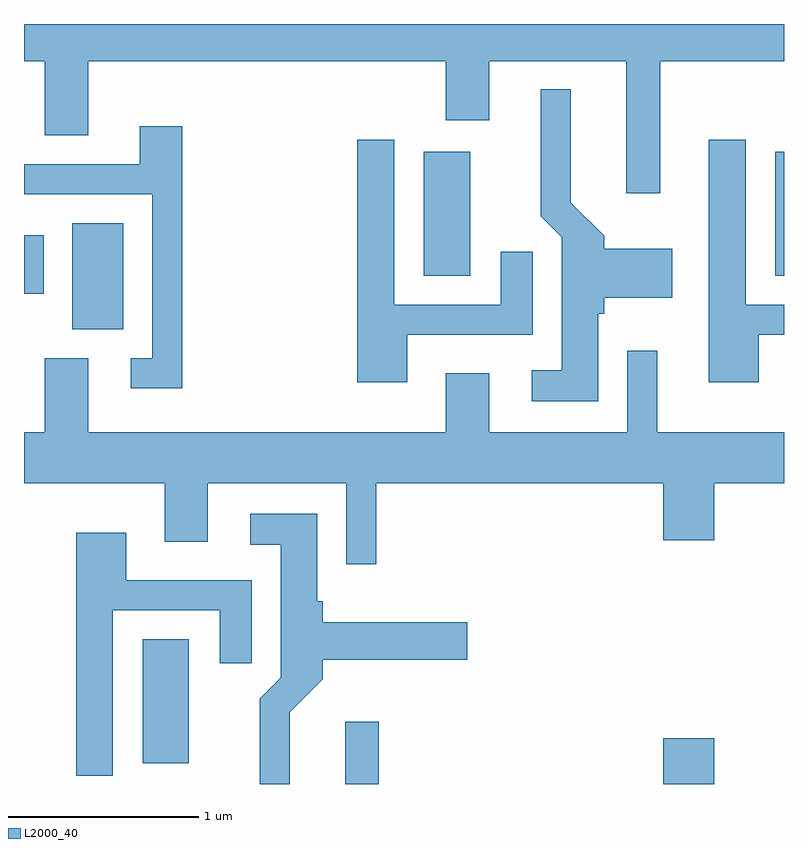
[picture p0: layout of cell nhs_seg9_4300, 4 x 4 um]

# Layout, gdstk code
import gdstk
lib = gdstk.Library(unit=1e-6, precision=1e-09)
def R(c, l, rs):  # rectangles x0, y0, x1, y1
    for r in rs: c.add(gdstk.rectangle(r[:2], r[2:], *l))
def P(c, l, *ps):  # polygons
    for p in ps: c.add(gdstk.Polygon(p, *l))
L2000_40 = (2000, 40)

nhs_seg9_4300 = lib.new_cell('nhs_seg9_4300')
R(nhs_seg9_4300, L2000_40, [(313.301,2012.432,313.479,2012.759), (314.976,2012.432,315.244,2012.674), (312.236,2012.541,312.479,2013.194), (311.866,2014.826,312.134,2015.384), (311.611,2015.011,311.714,2015.319), (313.716,2015.106,313.959,2015.759), (315.566,2015.106,315.611,2015.759)])
P(nhs_seg9_4300, L2000_40, [(314.959,2016.236),(315.611,2016.236),(315.611,2016.432),(311.611,2016.432),(311.611,2016.236),(311.721,2016.236),(311.721,2015.846),(311.949,2015.846),(311.949,2016.236),(313.831,2016.236),(313.831,2015.926),(314.059,2015.926),(314.059,2016.236),(314.781,2016.236),(314.781,2015.541),(314.959,2015.541)],
  [(314.634,2014.906),(314.664,2014.906),(314.664,2014.991),(315.024,2014.991),(315.024,2015.249),(314.664,2015.249),(314.664,2015.317),(314.489,2015.492),(314.489,2016.088),(314.331,2016.088),(314.331,2015.419),(314.441,2015.309),(314.441,2014.609),(314.283,2014.609),(314.283,2014.446),(314.634,2014.446)],
  [(312.444,2015.894),(312.221,2015.894),(312.221,2015.694),(311.611,2015.694),(311.611,2015.536),(312.286,2015.536),(312.286,2014.674),(312.173,2014.674),(312.173,2014.516),(312.444,2014.516)],
  [(313.629,2014.796),(314.289,2014.796),(314.289,2015.233),(314.121,2015.233),(314.121,2014.954),(313.559,2014.954),(313.559,2015.824),(313.366,2015.824),(313.366,2014.546),(313.629,2014.546)],
  [(315.479,2014.796),(315.611,2014.796),(315.611,2014.954),(315.409,2014.954),(315.409,2015.824),(315.216,2015.824),(315.216,2014.546),(315.479,2014.546)],
  [(313.464,2014.016),(314.976,2014.016),(314.976,2013.716),(315.244,2013.716),(315.244,2014.016),(315.611,2014.016),(315.611,2014.284),(314.944,2014.284),(314.944,2014.713),(314.786,2014.713),(314.786,2014.284),(314.059,2014.284),(314.059,2014.594),(313.831,2014.594),(313.831,2014.284),(311.949,2014.284),(311.949,2014.674),(311.721,2014.674),(311.721,2014.284),(311.611,2014.284),(311.611,2014.016),(312.351,2014.016),(312.351,2013.706),(312.579,2013.706),(312.579,2014.016),(313.306,2014.016),(313.306,2013.588),(313.464,2013.588)],
  [(313.009,2012.809),(313.184,2012.984),(313.184,2013.086),(313.944,2013.086),(313.944,2013.284),(313.184,2013.284),(313.184,2013.394),(313.154,2013.394),(313.154,2013.854),(312.803,2013.854),(312.803,2013.691),(312.961,2013.691),(312.961,2012.992),(312.851,2012.882),(312.851,2012.432),(313.009,2012.432)],
  [(312.079,2013.346),(312.641,2013.346),(312.641,2013.068),(312.809,2013.068),(312.809,2013.504),(312.149,2013.504),(312.149,2013.754),(311.886,2013.754),(311.886,2012.476),(312.079,2012.476)])

lib.write_gds('nhs_seg9_4300.gds')
